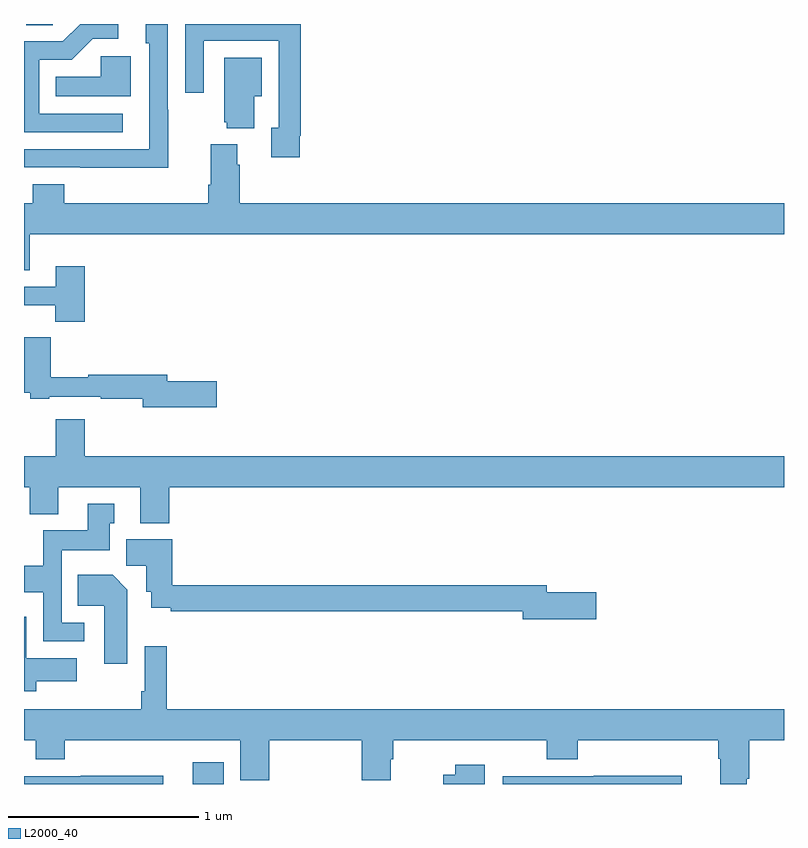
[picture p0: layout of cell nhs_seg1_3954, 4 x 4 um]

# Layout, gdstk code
import gdstk
lib = gdstk.Library(unit=1e-6, precision=1e-09)
def R(c, l, rs):  # rectangles x0, y0, x1, y1
    for r in rs: c.add(gdstk.rectangle(r[:2], r[2:], *l))
def P(c, l, *ps):  # polygons
    for p in ps: c.add(gdstk.Polygon(p, *l))
L2000_40 = (2000, 40)

nhs_seg1_3954 = lib.new_cell('nhs_seg1_3954')
R(nhs_seg1_3954, L2000_40, [(327.889,522.199,328.05,522.313), (327.011,526.192,327.15,526.199)])
P(nhs_seg1_3954, L2000_40, [(328.45,525.61),(328.457,525.61),(328.457,526.199),(327.849,526.199),(327.849,525.837),(327.945,525.837),(327.945,526.11),(328.341,526.11),(328.341,525.654),(328.301,525.654),(328.301,525.498),(328.45,525.498)],
  [(327.52,525.726),(327.081,525.726),(327.081,526.011),(327.25,526.011),(327.361,526.122),(327.496,526.122),(327.496,526.199),(327.296,526.199),(327.204,526.107),(327,526.107),(327,525.63),(327.52,525.63)],
  [(327.759,525.749),(327.756,525.749),(327.756,526.199),(327.641,526.199),(327.641,526.098),(327.66,526.098),(327.66,525.794),(327.659,525.794),(327.659,525.54),(327,525.54),(327,525.444),(327.295,525.444),(327.295,525.443),(327.759,525.443)],
  [(327.562,526.03),(327.405,526.03),(327.405,525.922),(327.166,525.922),(327.166,525.818),(327.562,525.818)],
  [(328.213,525.818),(328.252,525.818),(328.252,526.021),(328.055,526.021),(328.055,525.681),(328.067,525.681),(328.067,525.65),(328.213,525.65)],
  [(327.031,525.092),(331,525.092),(331,525.256),(328.136,525.256),(328.136,525.458),(328.123,525.458),(328.123,525.565),(327.983,525.565),(327.983,525.352),(327.971,525.352),(327.971,525.256),(327.212,525.256),(327.212,525.355),(327.047,525.355),(327.047,525.256),(327,525.256),(327,524.902),(327.031,524.902)],
  [(327.32,524.923),(327.167,524.923),(327.167,524.817),(327,524.817),(327,524.72),(327.165,524.72),(327.165,524.633),(327.32,524.633)],
  [(328.015,524.318),(327.754,524.318),(327.754,524.354),(327.338,524.354),(327.338,524.339),(327.14,524.339),(327.14,524.551),(327,524.551),(327,524.258),(327.033,524.258),(327.033,524.226),(327.133,524.226),(327.133,524.238),(327.403,524.238),(327.403,524.226),(327.626,524.226),(327.626,524.183),(328.015,524.183)],
  [(327.764,523.76),(331,523.76),(331,523.924),(327.32,523.924),(327.32,524.119),(327.167,524.119),(327.167,523.924),(327,523.924),(327,523.76),(327.029,523.76),(327.029,523.619),(327.181,523.619),(327.181,523.76),(327.611,523.76),(327.611,523.571),(327.764,523.571)],
  [(327.316,523.047),(327.198,523.047),(327.198,523.43),(327.451,523.43),(327.451,523.572),(327.475,523.572),(327.475,523.675),(327.335,523.675),(327.335,523.534),(327.1,523.534),(327.1,523.348),(327,523.348),(327,523.208),(327.102,523.208),(327.102,522.951),(327.316,522.951)],
  [(330.013,523.208),(329.752,523.208),(329.752,523.244),(327.779,523.244),(327.779,523.486),(327.539,523.486),(327.539,523.348),(327.644,523.348),(327.644,523.212),(327.669,523.212),(327.669,523.127),(327.772,523.127),(327.772,523.108),(329.624,523.108),(329.624,523.066),(330.013,523.066)],
  [(327.544,523.222),(327.466,523.3),(327.283,523.3),(327.283,523.136),(327.422,523.136),(327.422,522.831),(327.544,522.831)],
  [(327.065,522.74),(327.277,522.74),(327.277,522.862),(327.012,522.862),(327.012,523.078),(327,523.078),(327,522.686),(327.065,522.686)],
  [(330.805,522.226),(330.818,522.226),(330.818,522.428),(331,522.428),(331,522.592),(327.752,522.592),(327.752,522.925),(327.636,522.925),(327.636,522.688),(327.616,522.688),(327.616,522.592),(327,522.592),(327,522.428),(327.062,522.428),(327.062,522.329),(327.215,522.329),(327.215,522.428),(328.139,522.428),(328.139,522.22),(328.292,522.22),(328.292,522.428),(328.778,522.428),(328.778,522.22),(328.93,522.22),(328.93,522.33),(328.943,522.33),(328.943,522.428),(329.75,522.428),(329.75,522.329),(329.915,522.329),(329.915,522.428),(330.653,522.428),(330.653,522.332),(330.665,522.332),(330.665,522.199),(330.805,522.199)],
  [(329.425,522.301),(329.269,522.301),(329.269,522.249),(329.206,522.249),(329.206,522.199),(329.425,522.199)],
  [(327.732,522.242),(327.298,522.242),(327.298,522.24),(327,522.24),(327,522.199),(327.732,522.199)],
  [(330.461,522.242),(329.998,522.242),(329.998,522.24),(329.52,522.24),(329.52,522.199),(330.461,522.199)])

lib.write_gds('nhs_seg1_3954.gds')
